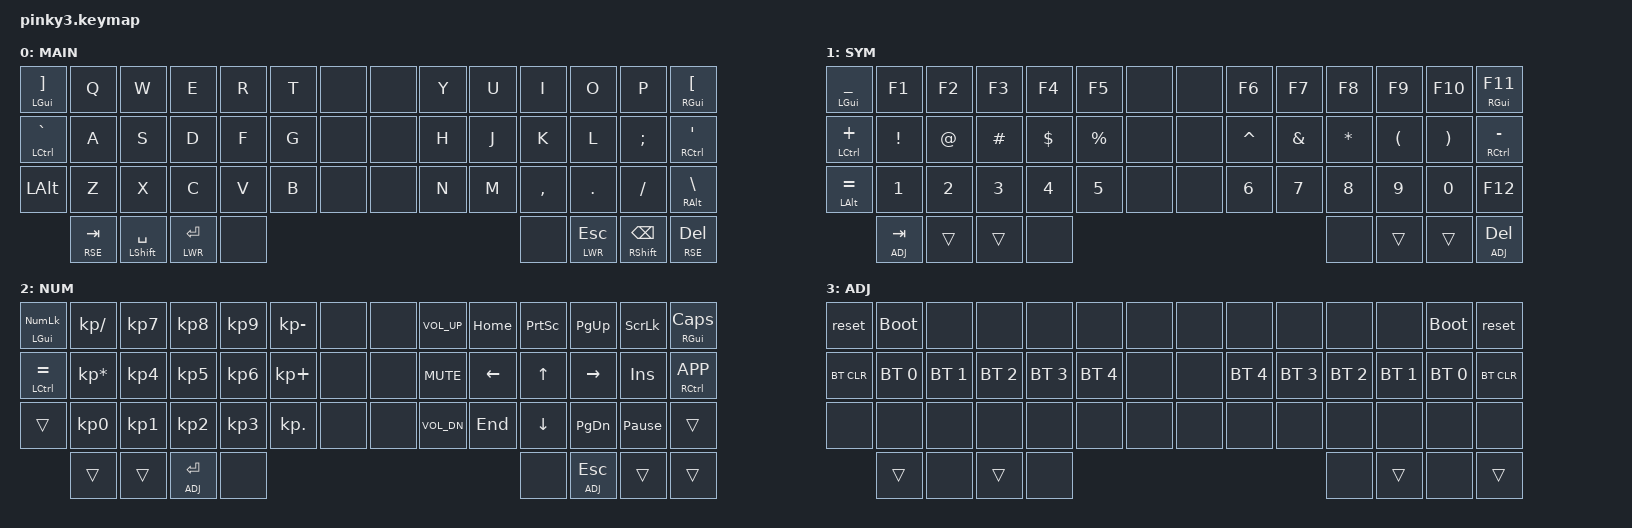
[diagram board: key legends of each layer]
/*
 * Copyright (c) 2020 The ZMK Contributors
 *
 * SPDX-License-Identifier: MIT
 */

#include <behaviors.dtsi>
#include <dt-bindings/zmk/keys.h>
#include <dt-bindings/zmk/bt.h>

#define DEF 0
#define LWR 1
#define RSE 2
#define ADJ 3

&lt { quick_tap_ms = <200>; };
&mt { quick_tap_ms = <200>; };

/ {
        keymap {
                compatible = "zmk,keymap";

                default_layer {
                        label = "MAIN";
// -----------------------------------------------------------------------------------------
// |   ~  |  Q  |  W  |  E  |  R  |  T  |   |  Y  |  U   |  I  |  O  |  P  |  [   |
// | CTRL |  A  |  S  |  D  |  F  |  G  |   |  H  |  J   |  K  |  L  |  ;  |CTRL/'|
// | LALT |  Z  |  X  |  C  |  V  |  B  |   |  N  |  M   |  ,  |  .  |  /  | RALT |
//                    | RSE | SPC | LWR |   | LWR | BKSP | RSE |
                        bindings = <
   &mt LGUI RBKT   &kp Q &kp W &kp E &kp R &kp T &none &none &kp Y   &kp U  &kp I     &kp O   &kp P    &mt RGUI LBKT
   &mt LCTRL GRAVE &kp A &kp S &kp D &kp F &kp G &none &none &kp H   &kp J  &kp K     &kp L   &kp SEMI &mt RCTRL SQT
   &kp LALT        &kp Z &kp X &kp C &kp V &kp B &none &none &kp N   &kp M  &kp COMMA &kp DOT &kp FSLH &mt RALT BSLH
                      &lt RSE TAB &mt LSHFT SPACE &lt LWR RET &none &none &lt LWR ESC &mt RSHFT BSPC &lt RSE DEL
                        >;`jjhynik  4356678<KJkj,                };
                lower_layer {
                        label = "SYM";
// -----------------------------------------------------------------------------------------
// |  _  |  F1 |  F2 |  F3 |  F4 |  F5 |   |  F6 |  F7 |  F8 |  F9 | F10 | F11 | F12 |
// |  +  |  !  |  @  |  #  |  $  |  %  |   |  ^  |  &  |  *  |  (  |  )  |  -  |
// |  =  |  1  |  2  |  3  |  4  |  5  |   |  6  |  7  |  8  |  9  |  0  |     |
//              | GUI |     | SPC |   | ENT |     | ALT |
                        bindings = <
   &mt LGUI UNDER &kp F1   &kp F2 &kp F3   &kp F4   &kp F5       &none &none    &kp F6    &kp F7   &kp F8   &kp F9   &kp F10  &mt RGUI F11
   &mt LCTRL PLUS &kp EXCL &kp AT &kp HASH &kp DLLR &kp PRCNT    &none &none    &kp CARET &kp AMPS &kp STAR &kp LPAR &kp RPAR &mt RCTRL MINUS
   &mt LALT EQUAL &kp N1   &kp N2 &kp N3   &kp N4   &kp N5       &none &none    &kp N6    &kp N7   &kp N8   &kp N9   &kp N0   &kp F12
                                       &lt ADJ TAB &trans &trans &none &none  &trans &trans &lt ADJ DEL
                        >;
                };

                raise_layer {
                        label = "NUM";
// -----------------------------------------------------------------------------------------
// | NMLK |  /  |  7  |  8  |  9  |  -  |   | VOLU| HOME| PRSC| PGUP| SCLK| CLCK|
// | CTRL |  *  |  4  |  5  |  6  |  +  |   | MUT | LEFT|  UP | RGHT| INS | APP |
// |      |  0  |  1  |  2  |  3  |  .  |   | VOLD| END | DOWN| PGDN| PAUS|     |
//                          |     |     | ADJ |   | ADJ |     |     |
                        bindings = <
   &mt LGUI KP_NUM &kp KP_SLASH    &kp KP_N7 &kp KP_N8 &kp KP_N9 &kp KP_MINUS &none &none      &kp C_VOL_UP &kp HOME &kp PSCRN &kp PG_UP &kp SLCK &mt RGUI CAPS
   &mt LCTRL EQUAL &kp KP_MULTIPLY &kp KP_N4 &kp KP_N5 &kp KP_N6 &kp KP_PLUS  &none &none      &kp C_MUTE   &kp LEFT &kp UP    &kp RIGHT &kp INS  &mt RCTRL K_APP
   &trans          &kp KP_N0       &kp KP_N1 &kp KP_N2 &kp KP_N3 &kp KP_DOT   &none &none      &kp C_VOL_DN &kp END  &kp DOWN  &kp PG_DN &kp PAUSE_BREAK &trans
                                                    &trans &trans &lt ADJ RET &none &none &lt ADJ ESC &trans &trans
                        >;
                };
                adjust_layer {
                        label = "ADJ";
// -----------------------------------------------------------------------------------------
// | RST  | BLDR|     |     |     |     |   |     |     |     |     | BLDR| RST  |
// | BTCLR| BT0 | BT1 | BT2 | BT3 | BT4 |   | BT4 | BT3 | BT2 | BT1 | BT0 | BTCLR|
// |      |     |     |     |     |     |   |     |     |     |     |     |      |
//                    |     |     |     |   |     |     |     |
                        bindings = <
   &reset     &bootloader  &none        &none        &none        &none          &none &none    &none        &none        &none        &none        &bootloader &reset
   &bt BT_CLR &bt BT_SEL 0 &bt BT_SEL 1 &bt BT_SEL 2 &bt BT_SEL 3 &bt BT_SEL 4   &none &none    &bt BT_SEL 4 &bt BT_SEL 3 &bt BT_SEL 2 &bt BT_SEL 1 &bt BT_SEL 0  &bt BT_CLR
   &none      &none        &none        &none        &none        &none          &none &none    &none        &none        &none        &none        &none         &none
                                                           &trans &none &trans   &none &none    &trans &none &trans
                        >;
                };
        };
};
